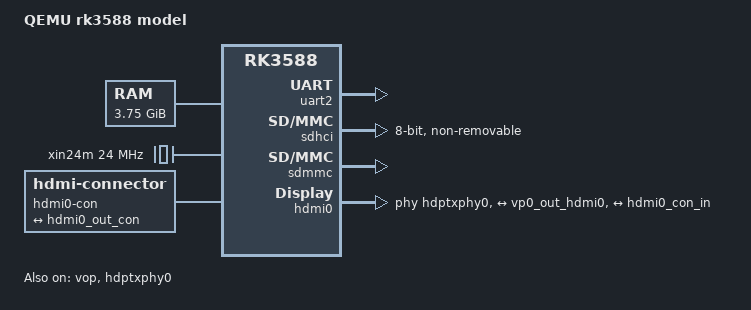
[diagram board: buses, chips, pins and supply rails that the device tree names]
/*
 * Minimal device tree for the QEMU rk3588 machine model (P5).
 *
 * Only devices the model implements: GICv3 (fe600000/fe680000), the
 * DW-APB UART2 console (feb50000, level IRQ on its real GIC SPI 333),
 * the arch timer (24 MHz PPIs, virt-style level-low), and one CPU (SMP
 * bring-up is deferred — TF-A's rk3588 PSCI pokes unmodelled PMU regs).
 * Memory covers the below-4G RAM window; u-boot's booti fixup rewrites
 * it anyway (its bi_dram has the exact bank layout).
 *
 * 4-cell GIC syntax of upstream rk3588 dtsi is not used: QEMU's gicv3
 * model follows the virt wiring, so interrupts use the 3-cell form and
 * timer PPIs are level-low like virt's generated FDT.
 */
/dts-v1/;

/ {
	model = "QEMU rk3588 model";
	compatible = "qemu,rk3588", "rockchip,rk3588";
	#address-cells = <2>;
	#size-cells = <2>;
	interrupt-parent = <&gic>;

	aliases {
		serial0 = &uart2;
	};

	chosen {
		stdout-path = "serial0:1500000n8";
		bootargs = "earlycon console=ttyS0,1500000 nokaslr";
	};

	memory@0 {
		device_type = "memory";
		reg = <0x0 0x0 0x0 0xf0000000>;
	};

	cpus {
		#address-cells = <1>;
		#size-cells = <0>;

		cpu@0 {
			device_type = "cpu";
			compatible = "arm,cortex-a76";
			reg = <0>;
			enable-method = "psci";
		};
	};

	psci {
		compatible = "arm,psci-1.0";
		method = "smc";
	};

	timer {
		compatible = "arm,armv8-timer", "arm,armv7-timer";
		interrupts = <1 13 4>,   /* sec-phys  PPI 13 */
		             <1 14 4>,   /* phys      PPI 14 */
		             <1 11 4>,  /* virt      PPI 11 */
		             <1 10 4>;  /* hyp-phys  PPI 10 */
		always-on;
	};

	gic: interrupt-controller@fe600000 {
		compatible = "arm,gic-v3";
		#interrupt-cells = <3>;
		#address-cells = <2>;
		#size-cells = <2>;
		interrupt-controller;
		reg = <0x0 0xfe600000 0x0 0x10000>,   /* GICD */
		      <0x0 0xfe680000 0x0 0x100000>;  /* GICR */
	};

	/*
	 * 24 MHz reference.  clock-output-names MUST be "xin24m": the
	 * clk-rk3588 driver looks the PLL parent up BY NAME (PNAME
	 * mux_pll_p = { "xin24m", "xin32k" }) — without it every PLL
	 * recalc gets an orphan 0 MHz parent.
	 */
	xin24m: clock-24m {
		compatible = "fixed-clock";
		#clock-cells = <0>;
		clock-output-names = "xin24m";
		clock-frequency = <24000000>;
	};

	/*
	 * Real CRU clock + reset controller (fd7c0000 window, 0x5c000 per
	 * rk3588-base.dtsi, covering the PHP/PMU/BIGCORE/DSU sub-CRUs).
	 * The model is register storage with PLL lock bits; all rate math
	 * lives in the kernel's clk-rk3588 driver.
	 */
	cru: clock-controller@fd7c0000 {
		compatible = "rockchip,rk3588-cru";
		reg = <0x0 0xfd7c0000 0x0 0x5c000>;
		#clock-cells = <1>;
		#reset-cells = <1>;
	};

	uart2: serial@feb50000 {
		compatible = "snps,dw-apb-uart";
		reg = <0x0 0xfeb50000 0x0 0x100>;
		reg-shift = <2>;
		reg-io-width = <4>;
		/* GIC_SPI(0) 333 level-high, as rk3588-base.dtsi */
		interrupts = <0 333 4>;
		clocks = <&xin24m>, <&xin24m>;
		clock-names = "baudclk", "apb_pclk";
		status = "okay";
	};

	/*
	 * eMMC (sdhci@fe2e0000, "rockchip,rk3588-dwcmshc"): image attaches
	 * via -drive if=sd unit 1 (unit 0 is the SD slot).  Clock/reset ids
	 * from include/dt-bindings/{clock,reset}/rockchip,rk3588-cru.h:
	 * CCLK/HCLK/ACLK/BCLK/TMCLK_EMMC = 300/298/299/301/302,
	 * SRST_C/H/A/B/T_EMMC = 280/278/279/281/282.  supports-cqe omitted
	 * (no CQE model); pinctrl omitted (no pin controller in the model).
	 */
	sdhci: mmc@fe2e0000 {
		compatible = "rockchip,rk3588-dwcmshc";
		reg = <0x0 0xfe2e0000 0x0 0x10000>;
		interrupts = <0 205 4>;
		clocks = <&cru 300>, <&cru 298>,
			 <&cru 299>, <&cru 301>, <&cru 302>;
		clock-names = "core", "bus", "axi", "block", "timer";
		resets = <&cru 280>, <&cru 278>,
			 <&cru 279>, <&cru 281>, <&cru 282>;
		reset-names = "core", "bus", "axi", "block", "timer";
		bus-width = <8>;
		max-frequency = <200000000>;
		non-removable;
		status = "okay";
	};

	/*
	 * SD slot (dw-mshc@fe2c0000).  biu/ciu stay fixed clocks (the stock
	 * tree sources them from SCMI firmware clocks; no SCMI model yet),
	 * ciu-drive/ciu-sample omitted (driver treats them as optional).
	 */
	sdmmc: mmc@fe2c0000 {
		compatible = "rockchip,rk3588-dw-mshc", "rockchip,rk3288-dw-mshc";
		reg = <0x0 0xfe2c0000 0x0 0x4000>;
		interrupts = <0 203 4>;
		clocks = <&xin24m>, <&xin24m>;
		clock-names = "biu", "ciu";
		fifo-depth = <0x100>;
		max-frequency = <200000000>;
		status = "okay";
	};

	/*
	 * P6 HDMI: the display pipeline of rk3588-base.dtsi (VOP2 -> dw
	 * HDMI QP -> connector), on the model's register-file syscons and
	 * real CRU clocks (ACLK/HCLK/DCLK_VOP0-3 = 605/604/609-612; HDMI
	 * PCLK/EARC/REF/AUD/HDP/HCLK_VO1 = 528/529/530/564/594/717; PHY
	 * REF/APB = 672/596; resets SRST_HDMITX0_REF=462, SRST_HDMIHDP0=560,
	 * SRST_HDPTX0{,_P,_INIT,_CMN,_LANE,_ROPLL,_LCPLL} =
	 * 547/538/611/612/613/545/546).  Raw cells: GIC_SPI=0,
	 * IRQ_TYPE_LEVEL_HIGH=4, ROCKCHIP_VOP2_EP_HDMI0=2
	 * (dt-bindings/soc/rockchip,vop2.h).
	 */
	sys_grf: syscon@fd58c000 {
		compatible = "rockchip,rk3588-sys-grf", "syscon";
		reg = <0x0 0xfd58c000 0x0 0x1000>;
	};

	vop_grf: syscon@fd5a4000 {
		compatible = "syscon";
		reg = <0x0 0xfd5a4000 0x0 0x2000>;
	};

	vo1_grf: syscon@fd5a8000 {
		compatible = "syscon";
		reg = <0x0 0xfd5a8000 0x0 0x4000>;
	};

	pmu_syscon: syscon@fd8d0000 {
		compatible = "syscon";
		reg = <0x0 0xfd8d0000 0x0 0x400>;
	};

	hdptxphy0_grf: syscon@fd5e0000 {
		compatible = "syscon";
		reg = <0x0 0xfd5e0000 0x0 0x100>;
	};

	display-subsystem {
		compatible = "rockchip,display-subsystem";
		ports = <&vop_out>;
	};

	vop: vop@fdd90000 {
		compatible = "rockchip,rk3588-vop";
		reg = <0x0 0xfdd90000 0x0 0x4200>,
		      <0x0 0xfdd95000 0x0 0x1000>;
		reg-names = "vop", "gamma-lut";
		interrupts = <0 156 4>;
		clocks = <&cru 605>, <&cru 604>,
			 <&cru 609>, <&cru 610>, <&cru 611>, <&cru 612>;
		clock-names = "aclk", "hclk",
			      "dclk_vp0", "dclk_vp1", "dclk_vp2", "dclk_vp3";
		rockchip,grf = <&sys_grf>;
		rockchip,vop-grf = <&vop_grf>;
		rockchip,vo1-grf = <&vo1_grf>;
		rockchip,pmu = <&pmu_syscon>;
		status = "okay";

		vop_out: ports {
			#address-cells = <1>;
			#size-cells = <0>;

			port@0 {
				reg = <0>;
				#address-cells = <1>;
				#size-cells = <0>;

				vp0_out_hdmi0: endpoint@2 {
					reg = <2>;
					remote-endpoint = <&hdmi0_in_vp0>;
				};

				vp0_out_edp0: endpoint@3 {
					reg = <3>;	/* ROCKCHIP_VOP2_EP_EDP0 */
					remote-endpoint = <&edp0_in_vp0>;
				};
			};
		};
	};

	hdmi0: hdmi@fde80000 {
		compatible = "rockchip,rk3588-dw-hdmi-qp";
		reg = <0x0 0xfde80000 0x0 0x20000>;
		interrupts = <0 169 4>,
			     <0 170 4>,
			     <0 171 4>,
			     <0 172 4>,
			     <0 360 4>;
		interrupt-names = "avp", "cec", "earc", "main", "hpd";
		clocks = <&cru 528>, <&cru 529>, <&cru 530>,
			 <&cru 564>, <&cru 594>, <&cru 717>;
		clock-names = "pclk", "earc", "ref", "aud", "hdp", "hclk_vo1";
		resets = <&cru 462>, <&cru 560>;
		reset-names = "ref", "hdp";
		phys = <&hdptxphy0>;
		rockchip,grf = <&sys_grf>;
		rockchip,vo-grf = <&vo1_grf>;
		status = "okay";

		ports {
			#address-cells = <1>;
			#size-cells = <0>;

			port@0 {
				reg = <0>;
				#address-cells = <1>;
				#size-cells = <0>;

				hdmi0_in_vp0: endpoint {
					remote-endpoint = <&vp0_out_hdmi0>;
				};
			};

			port@1 {
				reg = <1>;

				hdmi0_out_con: endpoint {
					remote-endpoint = <&hdmi0_con_in>;
				};
			};
		};
	};

	hdmi0-con {
		compatible = "hdmi-connector";
		type = "a";

		port {
			hdmi0_con_in: endpoint {
				remote-endpoint = <&hdmi0_out_con>;
			};
		};
	};

	/*
	 * P17 eDP0 (analogix_dp): disabled by default so run-linux keeps
	 * the HDMI-only pipeline; make run-linux-edp derives its DTB with
	 * fdtput (edp0 status=okay, hdmi0 status=disabled).  IDs from
	 * include/dt-bindings/{clock,reset}/rockchip,rk3588-cru.h:
	 * PCLK_EDP0=511, CLK_EDP0_24M=512 ("dp"), HCLK_VO1=717,
	 * SRST_P_EDP0=468 ("dp" reset), SRST_EDP0_24M=469 ("apb").
	 * Raw cells: GIC_SPI=0, IRQ_TYPE_LEVEL_HIGH=4;
	 * ROCKCHIP_VOP2_EP_EDP0=3 (dt-bindings/soc/rockchip,vop2.h).
	 * The analogix_dp core requires phy "dp" (hdptxphy0, shared with
	 * hdmi0 - only one of the two nodes is enabled per boot), both
	 * resets (the "dp" one is non-optional in rockchip_dp_of_probe),
	 * and platform_get_irq() on SPI 163 - the QEMU model never
	 * asserts it (static HPD, everything is polled).  No
	 * power-domains (none of the model's devices model a PD).
	 */
	edp0: edp@fdec0000 {
		compatible = "rockchip,rk3588-edp";
		reg = <0x0 0xfdec0000 0x0 0x1000>;
		clocks = <&cru 512>, <&cru 511>, <&cru 717>;
		clock-names = "dp", "pclk", "hclk";
		interrupts = <0 163 4>;
		phys = <&hdptxphy0>;
		phy-names = "dp";
		resets = <&cru 469>, <&cru 468>;
		reset-names = "dp", "apb";
		rockchip,grf = <&vo1_grf>;
		status = "disabled";

		ports {
			#address-cells = <1>;
			#size-cells = <0>;

			port@0 {
				reg = <0>;

				edp0_in_vp0: endpoint {
					remote-endpoint = <&vp0_out_edp0>;
				};
			};

			port@1 {
				reg = <1>;	/* no downstream bridge */
			};
		};
	};

	hdptxphy0: phy@fed60000 {
		compatible = "rockchip,rk3588-hdptx-phy";
		reg = <0x0 0xfed60000 0x0 0x2000>;
		#clock-cells = <0>;
		#phy-cells = <0>;
		clocks = <&cru 672>, <&cru 596>;
		clock-names = "ref", "apb";
		resets = <&cru 547>, <&cru 538>, <&cru 611>,
			 <&cru 612>, <&cru 613>, <&cru 545>, <&cru 546>;
		reset-names = "phy", "apb", "init", "cmn", "lane",
			      "ropll", "lcpll";
		rockchip,grf = <&hdptxphy0_grf>;
		status = "okay";
	};
};
